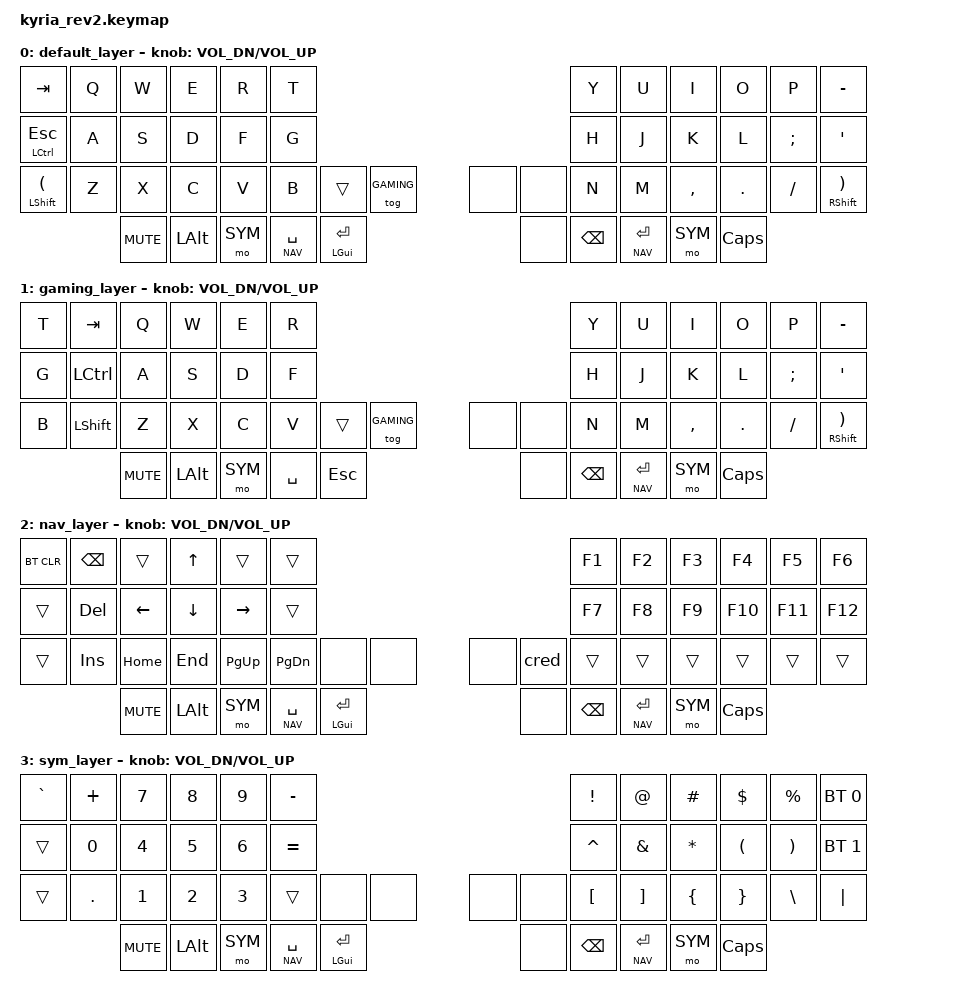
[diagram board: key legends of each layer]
/*
 * Copyright (c) 2020 The ZMK Contributors
 *
 * SPDX-License-Identifier: MIT
 */

#include <behaviors.dtsi>
#include <dt-bindings/zmk/keys.h>
#include <dt-bindings/zmk/bt.h>

#define DEFAULT 0
#define GAMING  1
#define NAV     2
#define SYM     3

#define NONE 0
/ {
    macros {
        cred: cred {
            label = "cred";
            compatible = "zmk,behavior-macro";
            #binding-cells = <0>;
            bindings
                = <&macro_tap &kp S>
				, <&macro_press &kp LSHFT>
                , <&macro_tap &kp V>
                , <&macro_release &kp LSHFT>
                , <&macro_tap &kp X &kp T &kp U &kp N3 &kp P &kp N4>
                ;
        };
    };
};
&mt {
    tapping-term-ms = <150>;
};
/ {
	keymap {
		compatible = "zmk,keymap";

		default_layer {
		
			bindings = <
	&kp TAB          &kp Q &kp W &kp E &kp R &kp T                                                &kp Y &kp U  &kp I     &kp O   &kp P    &kp MINUS
	&mt LCTRL ESC    &kp A &kp S &kp D &kp F &kp G                                                &kp H &kp J  &kp K     &kp L   &kp SEMI &kp SQT
	&mt LSHIFT LPAR  &kp Z &kp X &kp C &kp V &kp B &trans &tog GAMING             &none &none &kp N &kp M  &kp COMMA &kp DOT &kp FSLH &mt RSHIFT RPAR
	               &kp C_MUTE &kp LALT &mo SYM &lt NAV SPACE &mt LEFT_GUI RET        &none  &kp BSPC  &lt NAV RET &mo SYM &kp CAPS
			>;

			sensor-bindings = <&inc_dec_kp C_VOL_DN C_VOL_UP>;
		};

        gaming_layer {
		
			bindings = <
	&kp T  &kp TAB   &kp Q &kp W &kp E &kp R                                                     &kp Y &kp U  &kp I     &kp O   &kp P    &kp MINUS
	&kp G  &kp LCTRL &kp A &kp S &kp D &kp F                                                     &kp H &kp J  &kp K     &kp L   &kp SEMI &kp SQT
	&kp B  &kp LSHIFT &kp Z &kp X &kp C &kp V  &trans  &tog GAMING                &none &none &kp N &kp M  &kp COMMA &kp DOT &kp FSLH &mt RSHIFT RPAR
	                 &kp C_MUTE &kp LALT &mo SYM &kp SPACE &kp ESC                        &none  &kp BSPC  &lt NAV RET &mo SYM &kp CAPS
			>;

			sensor-bindings = <&inc_dec_kp C_VOL_DN C_VOL_UP>;
        };

        nav_layer {
		
			bindings = <
	&bt BT_CLR &kp BSPC &trans &kp UP &trans &trans                                                &kp F1 &kp F2  &kp F3  &kp F4  &kp F5   &kp F6
	&trans  &kp DEL &kp LEFT &kp DOWN &kp RIGHT &trans                                          &kp F7 &kp F8  &kp F9  &kp F10 &kp F11  &kp F12
	&trans  &kp INS &kp HOME &kp END &kp PG_UP &kp PG_DN  &none &none              &none &cred  &trans &trans  &trans  &trans  &trans   &trans
	                 &kp C_MUTE &kp LALT &mo SYM &lt NAV SPACE &mt LEFT_GUI RET   &none  &kp BSPC  &lt NAV RET &mo SYM &kp CAPS
			>;

			sensor-bindings = <&inc_dec_kp C_VOL_DN C_VOL_UP>;
        };

        sym_layer {
		
			bindings = <
	&kp GRAVE &kp PLUS &kp N7 &kp N8 &kp N9 &kp MINUS                                      &kp EXCL  &kp AT    &kp HASH  &kp DLLR  &kp PRCNT &bt BT_SEL 0
	&trans    &kp N0   &kp N4 &kp N5 &kp N6 &kp EQUAL                                      &kp CARET &kp AMPS  &kp STAR  &kp LPAR  &kp RPAR  &bt BT_SEL 1
	&trans    &kp DOT  &kp N1 &kp N2 &kp N3 &trans   &none &none               &none &none &kp LBKT  &kp RBKT  &kp LBRC  &kp RBRC  &kp BSLH  &kp PIPE
	                 &kp C_MUTE &kp LALT &mo SYM &lt NAV SPACE &mt LEFT_GUI RET   &none  &kp BSPC  &lt NAV RET &mo SYM &kp CAPS
			>;

			sensor-bindings = <&inc_dec_kp C_VOL_DN C_VOL_UP>;
        };
	};
};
